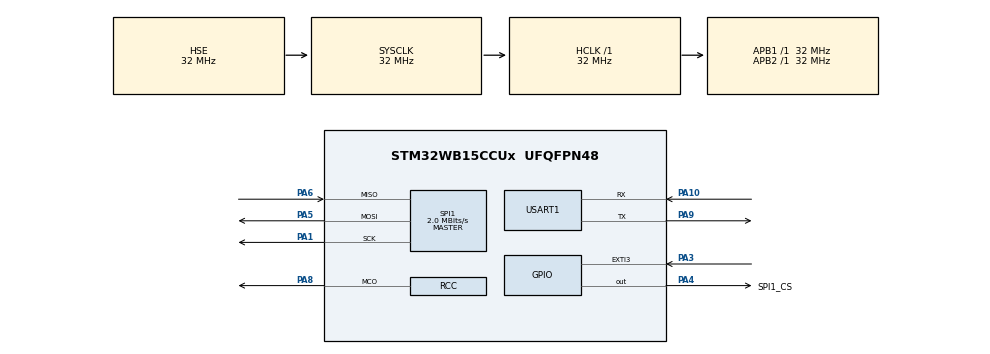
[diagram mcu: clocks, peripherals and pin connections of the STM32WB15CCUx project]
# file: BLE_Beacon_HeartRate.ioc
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Mcu.Family=STM32WB
Mcu.Name=STM32WB15CCUx
Mcu.Package=UFQFPN48
NVIC.EXTI3_IRQn=true\:0\:0\:false\:false\:true\:true\:true\:true
NVIC.PriorityGroup=NVIC_PRIORITYGROUP_4
OSC_IN.Mode=HSE-External-Oscillator
OSC_IN.Signal=RCC_OSC_IN
OSC_OUT.Mode=HSE-External-Oscillator
OSC_OUT.Signal=RCC_OSC_OUT
PA1.Mode=Full_Duplex_Master
PA1.Signal=SPI1_SCK
PA10.Mode=Asynchronous
PA10.Signal=USART1_RX
PA3.GPIO_ModeDefaultEXTI=GPIO_MODE_IT_FALLING
PA3.Signal=GPXTI3
PA4.GPIO_Label=SPI1_CS
PA4.Signal=GPIO_Output
PA5.Mode=Full_Duplex_Master
PA5.Signal=SPI1_MOSI
PA6.Mode=Full_Duplex_Master
PA6.Signal=SPI1_MISO
PA8.Mode=Clock-out
PA8.Signal=RCC_MCO
PA9.Mode=Asynchronous
PA9.Signal=USART1_TX
PC14-OSC32_IN.Mode=LSE-External-Oscillator
PC14-OSC32_IN.Signal=RCC_OSC32_IN
PC15-OSC32_OUT.Mode=LSE-External-Oscillator
PC15-OSC32_OUT.Signal=RCC_OSC32_OUT
ProjectManager.HeapSize=0x200
ProjectManager.StackSize=0x400
ProjectManager.TargetToolchain=STM32CubeIDE
RCC.AHBFreq_Value=32000000
RCC.APB1Freq_Value=32000000
RCC.APB1TimFreq_Value=32000000
RCC.APB2Freq_Value=32000000
RCC.APB2TimFreq_Value=32000000
RCC.APB3Freq_Value=16000000
RCC.CortexFreq_Value=32000000
RCC.HCLKFreq_Value=32000000
RCC.HSE_VALUE=32000000
RCC.HSI_VALUE=16000000
RCC.RCC_MCO1Source=RCC_MCO1SOURCE_LSE
RCC.SYSCLKFreq_VALUE=32000000
RCC.SYSCLKSource=RCC_SYSCLKSOURCE_HSE
RCC.VCOOutputFreq_Value=32000000
SPI1.BaudRatePrescaler=SPI_BAUDRATEPRESCALER_16
SPI1.CalculateBaudRate=2.0 MBits/s
SPI1.Direction=SPI_DIRECTION_2LINES
SPI1.Mode=SPI_MODE_MASTER
SPI1.VirtualType=VM_MASTER
USART1.VirtualMode-Asynchronous=VM_ASYNC
board=custom

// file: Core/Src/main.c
/* USER CODE BEGIN Header */
/**
  ******************************************************************************
  * @file           : main.c
  * @brief          : Main program body
  ******************************************************************************
  * @attention
  *
  * Copyright (c) 2023 STMicroelectronics.
  * All rights reserved.
  *
  * This software is licensed under terms that can be found in the LICENSE file
  * in the root directory of this software component.
  * If no LICENSE file comes with this software, it is provided AS-IS.
  *
  ******************************************************************************
  */
/* USER CODE END Header */
#include "main.h"

/* USER CODE BEGIN Includes */
#include <stdio.h>
#include "MAX30003.h"
#include "Debugger.h"
/* USER CODE END Includes */

/* USER CODE BEGIN PD */
#define RTOR_SAMPLE_SIZE	10
/* USER CODE END PD */

SPI_HandleTypeDef hspi1;

UART_HandleTypeDef huart1;

/* USER CODE BEGIN PV */
uint8_t MAX30003_init_done = 0;

/* USER CODE END PV */

void SystemClock_Config(void);
void PeriphCommonClock_Config(void);
static void MX_GPIO_Init(void);
static void MX_SPI1_Init(void);
static void MX_USART1_UART_Init(void);
/* USER CODE BEGIN PFP */
#ifdef __GNUC__
#define PUTCHAR_PROTOTYPE int __io_putchar(int ch)
#else
#define PUTCHAR_PROTOTYPE int fputc(int ch, FILE *f)
#endif

PUTCHAR_PROTOTYPE
{
  HAL_UART_Transmit(&huart1, (uint8_t *)&ch, 1, HAL_MAX_DELAY);
  return ch;
}

void MAX30003_Initialise(void);
void MAX30003_getHeartRate(void);
/* USER CODE END PFP */

/* USER CODE BEGIN 0 */
void MAX30003_Initialise(void)
{
	  // Software reset
	  MAX30003_set_reg_to_zero(hspi1, SPI1_CS_GPIO_Port, SPI1_CS_Pin, MAX30003_SW_RST);

	  // Configuration - general, calibration, multiplexer, ECG, R-to-R
	  // TODO: Experiment ECG sampling rate, ECG gain, all R-to-R algorithm parameters
	  MAX30003_set_reg(hspi1, SPI1_CS_GPIO_Port, SPI1_CS_Pin, MAX30003_CNFG_GEN, 	0x08, 0x00, 0x17);
	  MAX30003_set_reg(hspi1, SPI1_CS_GPIO_Port, SPI1_CS_Pin, MAX30003_CNFG_CAL, 	0x30, 0x48, 0x00);
	  MAX30003_set_reg(hspi1, SPI1_CS_GPIO_Port, SPI1_CS_Pin, MAX30003_CNFG_EMUX, 	0x80, 0x00, 0x00);
	  MAX30003_set_reg(hspi1, SPI1_CS_GPIO_Port, SPI1_CS_Pin, MAX30003_CNFG_ECG, 	0x82, 0x50, 0x00);
	  MAX30003_set_reg(hspi1, SPI1_CS_GPIO_Port, SPI1_CS_Pin, MAX30003_CNFG_RTOR1, 	0x1F, 0xA3, 0x00);
	  MAX30003_set_reg(hspi1, SPI1_CS_GPIO_Port, SPI1_CS_Pin, MAX30003_CNFG_RTOR2, 	0x20, 0x34, 0x00);

	  // Enable interrupt B (disabled) and 2B (EN_RRINT)
	  MAX30003_set_reg(hspi1, SPI1_CS_GPIO_Port, SPI1_CS_Pin, MAX30003_EN_INT, 	0x00, 0x00, 0x00);
	  MAX30003_set_reg(hspi1, SPI1_CS_GPIO_Port, SPI1_CS_Pin, MAX30003_EN_INT2, 0x00, 0x04, 0x03);

	  // Management mode for interrupt and dynamic
	  MAX30003_set_reg(hspi1, SPI1_CS_GPIO_Port, SPI1_CS_Pin, MAX30003_MNGR_INT, 0x50, 0x00, 0x24);
	  MAX30003_set_reg(hspi1, SPI1_CS_GPIO_Port, SPI1_CS_Pin, MAX30003_MNGR_DYN, 0x3F, 0x00, 0x00);

	  // FIFO register reset
	  MAX30003_set_reg_to_zero(hspi1, SPI1_CS_GPIO_Port, SPI1_CS_Pin, MAX30003_SYNCH);
	  MAX30003_set_reg_to_zero(hspi1, SPI1_CS_GPIO_Port, SPI1_CS_Pin, MAX30003_FIFO_RST);

	MAX30003_init_done = 1;
	printf("INFO		: ");
	printRegBin(MAX30003_get_reg(hspi1, SPI1_CS_GPIO_Port, SPI1_CS_Pin, MAX30003_INFO));
	return;
}

void MAX30003_getHeartRate(void)
{
	const float RTOR_RESOLUTION = 0.007813;	// R-to-R timing resolution = 7.8125ms

	uint32_t rtorFIFO;
	float rtorFIFO_ = 0;
	static float rtorFIFO_sample[RTOR_SAMPLE_SIZE] = {0};
	static int rtorFIFO_count = 0;
	float rtorFIFO_sampleSum = 0;
	uint8_t BPM = 0;

	// Get new R-to-R reading & clear interrupt
	rtorFIFO = MAX30003_get_reg(hspi1, SPI1_CS_GPIO_Port, SPI1_CS_Pin, MAX30003_RTOR_FIFO);
	rtorFIFO = rtorFIFO >> 10;
	rtorFIFO_ = rtorFIFO * RTOR_RESOLUTION;

	// Filter readings
	if(rtorFIFO_ > 0.5 && rtorFIFO_ < 3.5)
	{
		rtorFIFO_count++;

		// Push latest reading & pop oldest reading into/from averaging window
		for(int i = (RTOR_SAMPLE_SIZE - 1); i > 0; i--) rtorFIFO_sample[i] = rtorFIFO_sample[i - 1];
		rtorFIFO_sample[0] = rtorFIFO_;

		// Calculate average of a sample of past R-events after averaging window is filled
		if (rtorFIFO_count >= RTOR_SAMPLE_SIZE)
		{
			for(int i = 0; i < RTOR_SAMPLE_SIZE; i++) rtorFIFO_sampleSum += rtorFIFO_sample[i];
			BPM = (uint8_t)(RTOR_SAMPLE_SIZE * 60.0 / rtorFIFO_sampleSum);
		}
	}
	if(BPM != 0) {
		printf("BPM %d\n\r", BPM);
	}
	return;
}
/* USER CODE END 0 */

int main(void)
{

  /* MCU Configuration--------------------------------------------------------*/

  /* Reset of all peripherals, Initializes the Flash interface and the Systick. */
  HAL_Init();

  /* Configure the system clock */
  SystemClock_Config();

/* Configure the peripherals common clocks */
  PeriphCommonClock_Config();

  /* Initialize all configured peripherals */
  MX_GPIO_Init();
  MX_SPI1_Init();
  MX_USART1_UART_Init();
  /* USER CODE BEGIN 2 */
  printf("starting\n\r");
  MAX30003_Initialise();
  printf("Init completed %d\n\r", MAX30003_init_done);
  MAX30003_getHeartRate();
  /* USER CODE END 2 */

  /* Infinite loop */
  while (1)
  {

  }
}

void SystemClock_Config(void)
{
  RCC_OscInitTypeDef RCC_OscInitStruct = {0};
  RCC_ClkInitTypeDef RCC_ClkInitStruct = {0};

  /** Configure LSE Drive Capability
  */
  HAL_PWR_EnableBkUpAccess();
  __HAL_RCC_LSEDRIVE_CONFIG(RCC_LSEDRIVE_LOW);

  /** Initializes the RCC Oscillators according to the specified parameters
  * in the RCC_OscInitTypeDef structure.
  */
  RCC_OscInitStruct.OscillatorType = RCC_OSCILLATORTYPE_HSI|RCC_OSCILLATORTYPE_HSE
                              |RCC_OSCILLATORTYPE_LSE;
  RCC_OscInitStruct.HSEState = RCC_HSE_ON;
  RCC_OscInitStruct.LSEState = RCC_LSE_ON;
  RCC_OscInitStruct.HSIState = RCC_HSI_ON;
  RCC_OscInitStruct.HSICalibrationValue = RCC_HSICALIBRATION_DEFAULT;
  RCC_OscInitStruct.PLL.PLLState = RCC_PLL_NONE;
  if (HAL_RCC_OscConfig(&RCC_OscInitStruct) != HAL_OK)
  {
    Error_Handler();
  }

  /** Configure the SYSCLKSource, HCLK, PCLK1 and PCLK2 clocks dividers
  */
  RCC_ClkInitStruct.ClockType = RCC_CLOCKTYPE_HCLK4|RCC_CLOCKTYPE_HCLK2
                              |RCC_CLOCKTYPE_HCLK|RCC_CLOCKTYPE_SYSCLK
                              |RCC_CLOCKTYPE_PCLK1|RCC_CLOCKTYPE_PCLK2;
  RCC_ClkInitStruct.SYSCLKSource = RCC_SYSCLKSOURCE_HSE;
  RCC_ClkInitStruct.AHBCLKDivider = RCC_SYSCLK_DIV1;
  RCC_ClkInitStruct.APB1CLKDivider = RCC_HCLK_DIV1;
  RCC_ClkInitStruct.APB2CLKDivider = RCC_HCLK_DIV1;
  RCC_ClkInitStruct.AHBCLK2Divider = RCC_SYSCLK_DIV1;
  RCC_ClkInitStruct.AHBCLK4Divider = RCC_SYSCLK_DIV1;

  if (HAL_RCC_ClockConfig(&RCC_ClkInitStruct, FLASH_LATENCY_1) != HAL_OK)
  {
    Error_Handler();
  }
  HAL_RCC_MCOConfig(RCC_MCO1, RCC_MCO1SOURCE_LSE, RCC_MCODIV_1);
}

void PeriphCommonClock_Config(void)
{
  RCC_PeriphCLKInitTypeDef PeriphClkInitStruct = {0};

  /** Initializes the peripherals clock
  */
  PeriphClkInitStruct.PeriphClockSelection = RCC_PERIPHCLK_SMPS;
  PeriphClkInitStruct.SmpsClockSelection = RCC_SMPSCLKSOURCE_HSI;
  PeriphClkInitStruct.SmpsDivSelection = RCC_SMPSCLKDIV_RANGE1;

  if (HAL_RCCEx_PeriphCLKConfig(&PeriphClkInitStruct) != HAL_OK)
  {
    Error_Handler();
  }
}

static void MX_SPI1_Init(void)
{

  /* SPI1 parameter configuration*/
  hspi1.Instance = SPI1;
  hspi1.Init.Mode = SPI_MODE_MASTER;
  hspi1.Init.Direction = SPI_DIRECTION_2LINES;
  hspi1.Init.DataSize = SPI_DATASIZE_8BIT;
  hspi1.Init.CLKPolarity = SPI_POLARITY_LOW;
  hspi1.Init.CLKPhase = SPI_PHASE_1EDGE;
  hspi1.Init.NSS = SPI_NSS_SOFT;
  hspi1.Init.BaudRatePrescaler = SPI_BAUDRATEPRESCALER_16;
  hspi1.Init.FirstBit = SPI_FIRSTBIT_MSB;
  hspi1.Init.TIMode = SPI_TIMODE_DISABLE;
  hspi1.Init.CRCCalculation = SPI_CRCCALCULATION_DISABLE;
  hspi1.Init.CRCPolynomial = 7;
  hspi1.Init.CRCLength = SPI_CRC_LENGTH_DATASIZE;
  hspi1.Init.NSSPMode = SPI_NSS_PULSE_ENABLE;
  if (HAL_SPI_Init(&hspi1) != HAL_OK)
  {
    Error_Handler();
  }

}

static void MX_USART1_UART_Init(void)
{

  huart1.Instance = USART1;
  huart1.Init.BaudRate = 115200;
  huart1.Init.WordLength = UART_WORDLENGTH_8B;
  huart1.Init.StopBits = UART_STOPBITS_1;
  huart1.Init.Parity = UART_PARITY_NONE;
  huart1.Init.Mode = UART_MODE_TX_RX;
  huart1.Init.HwFlowCtl = UART_HWCONTROL_NONE;
  huart1.Init.OverSampling = UART_OVERSAMPLING_16;
  huart1.Init.OneBitSampling = UART_ONE_BIT_SAMPLE_DISABLE;
  huart1.Init.ClockPrescaler = UART_PRESCALER_DIV1;
  huart1.AdvancedInit.AdvFeatureInit = UART_ADVFEATURE_NO_INIT;
  if (HAL_UART_Init(&huart1) != HAL_OK)
  {
    Error_Handler();
  }
  if (HAL_UARTEx_SetTxFifoThreshold(&huart1, UART_TXFIFO_THRESHOLD_1_8) != HAL_OK)
  {
    Error_Handler();
  }
  if (HAL_UARTEx_SetRxFifoThreshold(&huart1, UART_RXFIFO_THRESHOLD_1_8) != HAL_OK)
  {
    Error_Handler();
  }
  if (HAL_UARTEx_DisableFifoMode(&huart1) != HAL_OK)
  {
    Error_Handler();
  }

}

static void MX_GPIO_Init(void)
{
  GPIO_InitTypeDef GPIO_InitStruct = {0};

  /* GPIO Ports Clock Enable */
  __HAL_RCC_GPIOC_CLK_ENABLE();
  __HAL_RCC_GPIOA_CLK_ENABLE();

  /*Configure GPIO pin Output Level */
  HAL_GPIO_WritePin(SPI1_CS_GPIO_Port, SPI1_CS_Pin, GPIO_PIN_RESET);

  /*Configure GPIO pin : PA3 */
  GPIO_InitStruct.Pin = GPIO_PIN_3;
  GPIO_InitStruct.Mode = GPIO_MODE_IT_FALLING;
  GPIO_InitStruct.Pull = GPIO_NOPULL;
  HAL_GPIO_Init(GPIOA, &GPIO_InitStruct);

  /*Configure GPIO pin : SPI1_CS_Pin */
  GPIO_InitStruct.Pin = SPI1_CS_Pin;
  GPIO_InitStruct.Mode = GPIO_MODE_OUTPUT_PP;
  GPIO_InitStruct.Pull = GPIO_NOPULL;
  GPIO_InitStruct.Speed = GPIO_SPEED_FREQ_LOW;
  HAL_GPIO_Init(SPI1_CS_GPIO_Port, &GPIO_InitStruct);

  /*Configure GPIO pin : PA8 */
  GPIO_InitStruct.Pin = GPIO_PIN_8;
  GPIO_InitStruct.Mode = GPIO_MODE_AF_PP;
  GPIO_InitStruct.Pull = GPIO_NOPULL;
  GPIO_InitStruct.Speed = GPIO_SPEED_FREQ_LOW;
  GPIO_InitStruct.Alternate = GPIO_AF0_MCO;
  HAL_GPIO_Init(GPIOA, &GPIO_InitStruct);

  /* EXTI interrupt init*/
  HAL_NVIC_SetPriority(EXTI3_IRQn, 0, 0);
  HAL_NVIC_EnableIRQ(EXTI3_IRQn);

}

/* USER CODE BEGIN 4 */
void HAL_GPIO_EXTI_Callback(uint16_t GPIO_Pin) {
	if((GPIO_Pin == GPIO_PIN_3) && (MAX30003_init_done)) {
		printf("Trigger\n\r");
		MAX30003_getHeartRate();

	}
}
/* USER CODE END 4 */

void Error_Handler(void)
{
  __disable_irq();
  while (1)
  {
  }
}
